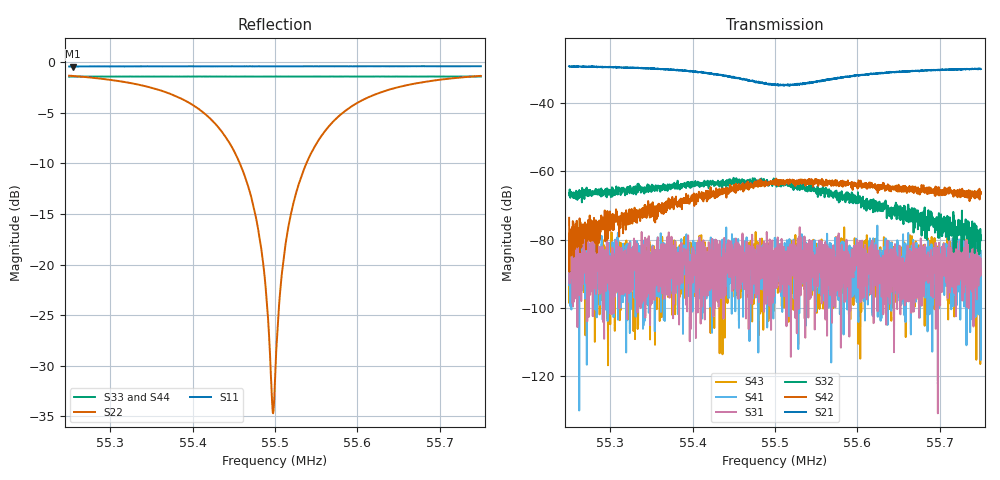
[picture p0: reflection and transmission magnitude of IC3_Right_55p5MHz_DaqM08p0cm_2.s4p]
#  HZ  S  DB  R  50.00
! Rohde & Schwarz Vector Network Analyzer
! Rohde-Schwarz,ZNB8-4Port,1311601044102961,2.82
! Created: UTC 2/13/2019, 2:04:59 PM
! freq[Hz]  db:S11  ang:S11  db:S12  ang:S12  db:S13  ang:S13  db:S14  ang:S14
!  db:S21  ang:S21  db:S22  ang:S22  db:S23  ang:S23  db:S24  ang:S24
!  db:S31  ang:S31  db:S32  ang:S32  db:S33  ang:S33  db:S34  ang:S34
!  db:S41  ang:S41  db:S42  ang:S42  db:S43  ang:S43  db:S44  ang:S44
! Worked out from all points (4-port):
!   2001 points, 55.25 MHz to 55.75 MHz, reference 50 ohm
!   strongest paths, dB at 55.25 MHz, 55.375 MHz, 55.5 MHz, 55.625 MHz, 55.75 MHz:
!     S21: -29.3, -30.4, -34.6, -31.4, -30.1
!     S42: -73.6, -69.4, -62.8, -64.6, -66.2
!     S32: -67.0, -63.9, -63.7, -69.5, -78.9
!     S31: -85.2, -91.3, -84.5, -88.6, -88.7
!     S41: -93.3, -88.4, -84.0, -88.9, -86.5
!     S43: -90.1, -91.5, -87.1, -84.2, -95.0
!   lowest |S11| = -0.4 dB at 55.255 MHz (marker M1), VSWR 42.06, Z = 2.1 + j43.9 ohm
!   |S11| at or under -10 dB: nowhere
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5.525e7  -0.41 97.5  -29.40 73.4  -85.66 10.1  -81.06 33.9
         -29.28 73.1  -1.32 -132.7  -66.41 -151.7  -80.24 5.4
         -85.16 127.6  -67.05 -149.1  -1.42 24.7  -85.82 44.4
         -93.30 172.1  -73.63 3.8  -90.15 -57.1  -1.43 31.2
5.5255e7  -0.41 97.4  -29.32 73.4  -80.58 61.3  -85.07 -66.0
          -29.31 73.3  -1.36 -133.5  -66.52 -152.9  -74.84 -13.9
          -84.75 91.5  -66.80 -153.1  -1.41 24.7  -96.10 134.8
          -87.53 41.1  -74.88 7.6  -84.11 35.8  -1.43 31.1
5.544425e7  -0.39 93.9  -32.27 55.2  -84.76 -3.4  -89.14 116.1
            -32.17 56.1  -7.91 173.9  -62.59 165.1  -64.08 -23.3
            -90.27 -122.9  -63.88 166.6  -1.41 22.3  -97.12 -77.7
            -88.07 -153.9  -65.32 -28.5  -82.35 142.1  -1.42 28.8
5.549775e7  -0.40 92.9  -34.58 66.4  -90.02 79.6  -90.42 -79.1
            -34.71 66.4  -34.72 54.4  -62.99 134.9  -63.65 -56.7
            -87.93 160.3  -62.49 139.6  -1.41 21.6  -86.86 -1.5
            -87.41 -178.8  -62.84 -60.9  -95.21 158.2  -1.42 28.1
5.551575e7  -0.39 92.6  -34.63 72.8  -96.28 26.4  -85.21 113.5
            -34.69 74.2  -16.52 -35.2  -64.89 131.3  -62.88 -64.2
            -82.25 21.1  -64.32 132.8  -1.41 21.4  -85.51 26.1
            -87.45 148.1  -62.77 -63.2  -92.58 -107.3  -1.42 27.9
5.555325e7  -0.39 91.9  -33.62 85.6  -87.21 -28.0  -91.73 -51.5
            -33.68 85.9  -7.66 -59.0  -65.19 113.1  -63.28 -79.3
            -85.80 8.0  -65.41 112.4  -1.40 20.9  -89.49 -29.8
            -95.67 -62.8  -63.10 -80.5  -91.54 -177.3  -1.42 27.4
5.575e7  -0.38 88.3  -29.98 76.1  -84.22 12.6  -80.02 -7.9
         -30.06 77.1  -1.34 -112.1  -77.69 79.6  -67.41 -126.1
         -88.73 163.6  -78.86 59.4  -1.40 18.4  -84.71 -23.4
         -86.53 138.0  -66.16 -134.4  -95.04 -45.1  -1.42 25.0
